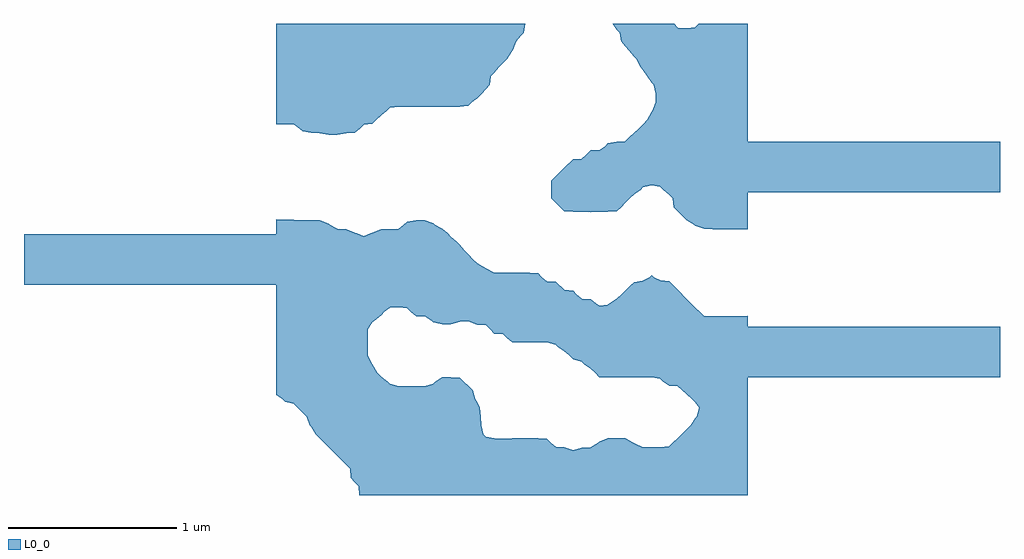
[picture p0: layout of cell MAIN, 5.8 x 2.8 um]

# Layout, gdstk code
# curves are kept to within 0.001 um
import gdstk
lib = gdstk.Library(unit=1e-6, precision=1e-09)
def R(c, l, rs):  # rectangles x0, y0, x1, y1
    for r in rs: c.add(gdstk.rectangle(r[:2], r[2:], *l))
def P(c, l, *ps):  # polygons
    for p in ps: c.add(gdstk.Polygon(p, *l))
L0_0 = (0, 0)

main = lib.new_cell('MAIN')
R(main, L0_0, [(1.4,-0.7,2.9,-0.4), (-2.9,-0.15,-1.4,0.15), (1.4,0.4,2.9,0.7)])
P(main, L0_0, [(-0.985,0.751),(-0.933,0.752),(-0.881,0.801),(-0.83,0.808),(-0.808,0.83),(-0.778,0.856),(-0.746,0.881),(-0.726,0.902),(-0.674,0.907),(-0.622,0.908),(-0.311,0.908),(-0.259,0.914),(-0.24,0.933),(-0.207,0.959),(-0.131,1.037),(-0.126,1.089),(-0.104,1.111),(-0.052,1.17),(-0.029,1.193),(0.003,1.244),(0.026,1.296),(0.052,1.329),(0.07,1.348),(0.078,1.4),(-1.4,1.4),(-1.4,0.804),(-1.296,0.803),(-1.261,0.778),(-1.244,0.762),(-1.193,0.752),(-1.141,0.751),(-1.089,0.742),(-1.037,0.742)],
  [(1.4,1.4),(1.109,1.4),(1.089,1.379),(1.037,1.374),(0.985,1.378),(0.963,1.4),(0.598,1.4),(0.622,1.366),(0.639,1.348),(0.648,1.296),(0.695,1.244),(0.726,1.204),(0.737,1.193),(0.765,1.141),(0.778,1.128),(0.83,1.05),(0.842,1.037),(0.855,0.985),(0.855,0.933),(0.833,0.881),(0.83,0.878),(0.804,0.83),(0.778,0.802),(0.674,0.704),(0.622,0.7),(0.57,0.691),(0.553,0.674),(0.519,0.649),(0.467,0.648),(0.415,0.598),(0.363,0.595),(0.283,0.519),(0.259,0.495),(0.234,0.467),(0.234,0.363),(0.311,0.286),(0.467,0.281),(0.622,0.286),(0.726,0.388),(0.764,0.415),(0.778,0.429),(0.83,0.44),(0.881,0.433),(0.933,0.386),(0.956,0.363),(0.962,0.311),(1.037,0.234),(1.083,0.207),(1.089,0.202),(1.141,0.182),(1.4,0.181)],
  [(-1.363,-0.83),(-1.348,-0.844),(-1.296,-0.857),(-1.22,-0.933),(-1.203,-0.985),(-1.193,-0.995),(-1.166,-1.037),(-0.961,-1.244),(-0.957,-1.296),(-0.911,-1.348),(-0.908,-1.4),(1.4,-1.4),(1.4,-0.335),(1.244,-0.338),(1.141,-0.337),(0.933,-0.13),(0.881,-0.122),(0.843,-0.104),(0.83,-0.095),(0.82,-0.104),(0.778,-0.127),(0.726,-0.134),(0.674,-0.187),(0.622,-0.234),(0.581,-0.259),(0.57,-0.269),(0.519,-0.276),(0.499,-0.259),(0.467,-0.236),(0.415,-0.233),(0.383,-0.207),(0.363,-0.187),(0.311,-0.181),(0.259,-0.131),(0.207,-0.128),(0.178,-0.104),(0.156,-0.083),(0.104,-0.078),(-0.104,-0.078),(-0.156,-0.052),(-0.207,-0.023),(-0.28,0.052),(-0.311,0.088),(-0.327,0.104),(-0.363,0.135),(-0.383,0.156),(-0.415,0.182),(-0.458,0.207),(-0.467,0.216),(-0.519,0.232),(-0.57,0.232),(-0.622,0.225),(-0.642,0.207),(-0.674,0.184),(-0.778,0.18),(-0.881,0.139),(-0.985,0.181),(-1.037,0.182),(-1.084,0.207),(-1.089,0.212),(-1.141,0.233),(-1.193,0.233),(-1.4,0.238),(-1.4,-0.57),(-0.856,-0.57),(-0.856,-0.415),(-0.83,-0.374),(-0.819,-0.363),(-0.778,-0.33),(-0.758,-0.311),(-0.726,-0.286),(-0.674,-0.285),(-0.622,-0.29),(-0.601,-0.311),(-0.57,-0.336),(-0.519,-0.338),(-0.478,-0.363),(-0.467,-0.374),(-0.415,-0.386),(-0.363,-0.384),(-0.311,-0.369),(-0.259,-0.366),(-0.207,-0.387),(-0.156,-0.389),(-0.104,-0.44),(-0.052,-0.445),(-0.029,-0.467),(0,-0.491),(0.207,-0.493),(0.259,-0.507),(0.271,-0.519),(0.311,-0.544),(0.341,-0.57),(0.363,-0.593),(0.415,-0.608),(0.429,-0.622),(0.467,-0.649),(0.519,-0.699),(0.622,-0.701),(0.83,-0.7),(0.881,-0.709),(0.899,-0.726),(0.933,-0.751),(0.985,-0.753),(1.037,-0.802),(1.072,-0.83),(1.089,-0.849),(1.113,-0.881),(1.098,-0.933),(1.089,-0.943),(1.063,-0.985),(0.985,-1.063),(0.955,-1.089),(0.933,-1.111),(0.881,-1.115),(0.778,-1.115),(0.726,-1.092),(0.674,-1.063),(0.57,-1.063),(0.519,-1.082),(0.512,-1.089),(0.467,-1.115),(0.415,-1.119),(0.363,-1.135),(0.311,-1.117),(0.259,-1.114),(0.231,-1.089),(0.207,-1.065),(0.156,-1.063),(-0.104,-1.063),(-0.156,-1.054),(-0.172,-1.037),(-0.182,-0.985),(-0.191,-0.881),(-0.207,-0.849),(-0.219,-0.83),(-0.233,-0.778),(-0.259,-0.751),(-0.288,-0.726),(-0.311,-0.703),(-0.363,-0.7),(-0.415,-0.701),(-0.455,-0.726),(-0.467,-0.737),(-0.519,-0.752),(-0.674,-0.752),(-0.726,-0.738),(-0.738,-0.726),(-0.778,-0.698),(-0.802,-0.674),(-0.83,-0.623),(-0.856,-0.57),(-1.4,-0.57),(-1.4,-0.804)])

lib.write_gds('MAIN.gds')
